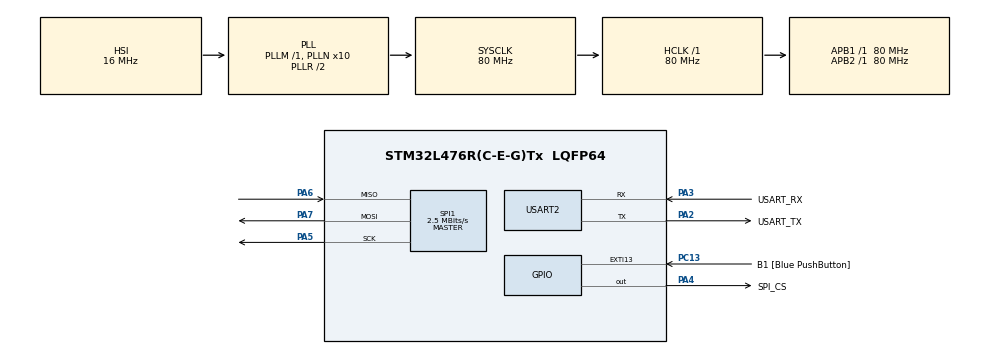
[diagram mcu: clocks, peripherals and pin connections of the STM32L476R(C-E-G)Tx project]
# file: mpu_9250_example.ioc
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Mcu.Family=STM32L4
Mcu.Name=STM32L476R(C-E-G)Tx
Mcu.Package=LQFP64
NVIC.PriorityGroup=NVIC_PRIORITYGROUP_4
NVIC.TIM1_UP_TIM16_IRQn=true\:0\:0\:false\:false\:true\:true\:true\:true
PA13\ (JTMS-SWDIO).GPIO_Label=TMS
PA13\ (JTMS-SWDIO).Mode=Serial_Wire
PA13\ (JTMS-SWDIO).Signal=SYS_JTMS-SWDIO
PA14\ (JTCK-SWCLK).GPIO_Label=TCK
PA14\ (JTCK-SWCLK).Mode=Serial_Wire
PA14\ (JTCK-SWCLK).Signal=SYS_JTCK-SWCLK
PA2.GPIO_Label=USART_TX
PA2.GPIO_Mode=GPIO_MODE_AF_PP
PA2.GPIO_PuPd=GPIO_NOPULL
PA2.GPIO_Speed=GPIO_SPEED_FREQ_VERY_HIGH
PA2.Mode=Asynchronous
PA2.Signal=USART2_TX
PA3.GPIO_Label=USART_RX
PA3.GPIO_Mode=GPIO_MODE_AF_PP
PA3.GPIO_PuPd=GPIO_NOPULL
PA3.GPIO_Speed=GPIO_SPEED_FREQ_VERY_HIGH
PA3.Mode=Asynchronous
PA3.Signal=USART2_RX
PA4.GPIO_Label=SPI_CS
PA4.Signal=GPIO_Output
PA5.Mode=Full_Duplex_Master
PA5.Signal=SPI1_SCK
PA6.Mode=Full_Duplex_Master
PA6.Signal=SPI1_MISO
PA7.Mode=Full_Duplex_Master
PA7.Signal=SPI1_MOSI
PB3\ (JTDO-TRACESWO).GPIO_Label=SWO
PB3\ (JTDO-TRACESWO).Signal=SYS_JTDO-SWO
PC13.GPIO_Label=B1 [Blue PushButton]
PC13.GPIO_ModeDefaultEXTI=GPIO_MODE_IT_FALLING
PC13.GPIO_PuPd=GPIO_NOPULL
PC13.Signal=GPXTI13
PC14-OSC32_IN\ (PC14).Mode=LSE-External-Oscillator
PC14-OSC32_IN\ (PC14).Signal=RCC_OSC32_IN
PC15-OSC32_OUT\ (PC15).Mode=LSE-External-Oscillator
PC15-OSC32_OUT\ (PC15).Signal=RCC_OSC32_OUT
PH0-OSC_IN\ (PH0).Signal=RCC_OSC_IN
PH1-OSC_OUT\ (PH1).Signal=RCC_OSC_OUT
ProjectManager.HeapSize=0x200
ProjectManager.StackSize=0x400
ProjectManager.TargetToolchain=STM32CubeIDE
RCC.ADCFreq_Value=64000000
RCC.AHBFreq_Value=80000000
RCC.APB1Freq_Value=80000000
RCC.APB1TimFreq_Value=80000000
RCC.APB2Freq_Value=80000000
RCC.APB2TimFreq_Value=80000000
RCC.CortexFreq_Value=80000000
RCC.HCLKFreq_Value=80000000
RCC.HSE_VALUE=8000000
RCC.HSI_VALUE=16000000
RCC.MSI_VALUE=4000000
RCC.PLLN=10
RCC.PLLSourceVirtual=RCC_PLLSOURCE_HSI
RCC.PREFETCH_ENABLE=1
RCC.SYSCLKFreq_VALUE=80000000
RCC.SYSCLKSource=RCC_SYSCLKSOURCE_PLLCLK
RCC.USBFreq_Value=64000000
RCC.VCOOutputFreq_Value=160000000
SPI1.BaudRatePrescaler=SPI_BAUDRATEPRESCALER_32
SPI1.CLKPhase=SPI_PHASE_2EDGE
SPI1.CLKPolarity=SPI_POLARITY_HIGH
SPI1.CalculateBaudRate=2.5 MBits/s
SPI1.DataSize=SPI_DATASIZE_8BIT
SPI1.Direction=SPI_DIRECTION_2LINES
SPI1.Mode=SPI_MODE_MASTER
SPI1.VirtualType=VM_MASTER
TIM1.Period=999
TIM1.Prescaler=79
USART2.VirtualMode-Asynchronous=VM_ASYNC
VP_TIM1_VS_ClockSourceINT.Mode=Internal
board=NUCLEO-L476RG

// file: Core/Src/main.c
/* USER CODE BEGIN Header */
/**
  ******************************************************************************
  * @file           : main.c
  * @brief          : Main program body
  ******************************************************************************
  * @attention
  *
  * Copyright (c) 2022 STMicroelectronics.
  * All rights reserved.
  *
  * This software is licensed under terms that can be found in the LICENSE file
  * in the root directory of this software component.
  * If no LICENSE file comes with this software, it is provided AS-IS.
  *
  ******************************************************************************
  */
/* USER CODE END Header */
#include "main.h"

 SPI_HandleTypeDef hspi1;

TIM_HandleTypeDef htim1;

UART_HandleTypeDef huart2;

/* USER CODE BEGIN PV */
volatile uint8_t timer_flag = 0;
/* USER CODE END PV */

void SystemClock_Config(void);
static void MX_GPIO_Init(void);
static void MX_USART2_UART_Init(void);
static void MX_TIM1_Init(void);
static void MX_SPI1_Init(void);
/* USER CODE BEGIN PFP */
void mpu9250_read_reg(uint8_t reg, uint8_t *data, uint8_t len);
void mpu9250_write_reg(uint8_t reg, uint8_t data);
/* USER CODE END PFP */

int main(void)
{

  /* MCU Configuration--------------------------------------------------------*/

  /* Reset of all peripherals, Initializes the Flash interface and the Systick. */
  HAL_Init();

  /* Configure the system clock */
  SystemClock_Config();

  /* Initialize all configured peripherals */
  MX_GPIO_Init();
  MX_USART2_UART_Init();
  MX_TIM1_Init();
  MX_SPI1_Init();
  /* USER CODE BEGIN 2 */
  int16_t accel_data;
  uint8_t imu_data[14];
  mpu9250_write_reg(28, 0x08);
  /* USER CODE END 2 */

  /* Infinite loop */
  /* USER CODE BEGIN WHILE */
  while (1)
  {
	  if(timer_flag)
	  {
		  mpu9250_read_reg(59, imu_data, sizeof(imu_data));
		  accel_data = ((int16_t)imu_data[0]<<8) + imu_data[1];
		  timer_flag = 0;
	  }
    /* USER CODE END WHILE */

  }
}

void SystemClock_Config(void)
{
  RCC_OscInitTypeDef RCC_OscInitStruct = {0};
  RCC_ClkInitTypeDef RCC_ClkInitStruct = {0};

  /** Configure the main internal regulator output voltage
  */
  if (HAL_PWREx_ControlVoltageScaling(PWR_REGULATOR_VOLTAGE_SCALE1) != HAL_OK)
  {
    Error_Handler();
  }

  /** Initializes the RCC Oscillators according to the specified parameters
  * in the RCC_OscInitTypeDef structure.
  */
  RCC_OscInitStruct.OscillatorType = RCC_OSCILLATORTYPE_HSI;
  RCC_OscInitStruct.HSIState = RCC_HSI_ON;
  RCC_OscInitStruct.HSICalibrationValue = RCC_HSICALIBRATION_DEFAULT;
  RCC_OscInitStruct.PLL.PLLState = RCC_PLL_ON;
  RCC_OscInitStruct.PLL.PLLSource = RCC_PLLSOURCE_HSI;
  RCC_OscInitStruct.PLL.PLLM = 1;
  RCC_OscInitStruct.PLL.PLLN = 10;
  RCC_OscInitStruct.PLL.PLLP = RCC_PLLP_DIV7;
  RCC_OscInitStruct.PLL.PLLQ = RCC_PLLQ_DIV2;
  RCC_OscInitStruct.PLL.PLLR = RCC_PLLR_DIV2;
  if (HAL_RCC_OscConfig(&RCC_OscInitStruct) != HAL_OK)
  {
    Error_Handler();
  }

  /** Initializes the CPU, AHB and APB buses clocks
  */
  RCC_ClkInitStruct.ClockType = RCC_CLOCKTYPE_HCLK|RCC_CLOCKTYPE_SYSCLK
                              |RCC_CLOCKTYPE_PCLK1|RCC_CLOCKTYPE_PCLK2;
  RCC_ClkInitStruct.SYSCLKSource = RCC_SYSCLKSOURCE_PLLCLK;
  RCC_ClkInitStruct.AHBCLKDivider = RCC_SYSCLK_DIV1;
  RCC_ClkInitStruct.APB1CLKDivider = RCC_HCLK_DIV1;
  RCC_ClkInitStruct.APB2CLKDivider = RCC_HCLK_DIV1;

  if (HAL_RCC_ClockConfig(&RCC_ClkInitStruct, FLASH_LATENCY_4) != HAL_OK)
  {
    Error_Handler();
  }
}

static void MX_SPI1_Init(void)
{

  /* SPI1 parameter configuration*/
  hspi1.Instance = SPI1;
  hspi1.Init.Mode = SPI_MODE_MASTER;
  hspi1.Init.Direction = SPI_DIRECTION_2LINES;
  hspi1.Init.DataSize = SPI_DATASIZE_8BIT;
  hspi1.Init.CLKPolarity = SPI_POLARITY_HIGH;
  hspi1.Init.CLKPhase = SPI_PHASE_2EDGE;
  hspi1.Init.NSS = SPI_NSS_SOFT;
  hspi1.Init.BaudRatePrescaler = SPI_BAUDRATEPRESCALER_32;
  hspi1.Init.FirstBit = SPI_FIRSTBIT_MSB;
  hspi1.Init.TIMode = SPI_TIMODE_DISABLE;
  hspi1.Init.CRCCalculation = SPI_CRCCALCULATION_DISABLE;
  hspi1.Init.CRCPolynomial = 7;
  hspi1.Init.CRCLength = SPI_CRC_LENGTH_DATASIZE;
  hspi1.Init.NSSPMode = SPI_NSS_PULSE_DISABLE;
  if (HAL_SPI_Init(&hspi1) != HAL_OK)
  {
    Error_Handler();
  }

}

static void MX_TIM1_Init(void)
{

  TIM_ClockConfigTypeDef sClockSourceConfig = {0};
  TIM_MasterConfigTypeDef sMasterConfig = {0};

  htim1.Instance = TIM1;
  htim1.Init.Prescaler = 79;
  htim1.Init.CounterMode = TIM_COUNTERMODE_UP;
  htim1.Init.Period = 999;
  htim1.Init.ClockDivision = TIM_CLOCKDIVISION_DIV1;
  htim1.Init.RepetitionCounter = 0;
  htim1.Init.AutoReloadPreload = TIM_AUTORELOAD_PRELOAD_DISABLE;
  if (HAL_TIM_Base_Init(&htim1) != HAL_OK)
  {
    Error_Handler();
  }
  sClockSourceConfig.ClockSource = TIM_CLOCKSOURCE_INTERNAL;
  if (HAL_TIM_ConfigClockSource(&htim1, &sClockSourceConfig) != HAL_OK)
  {
    Error_Handler();
  }
  sMasterConfig.MasterOutputTrigger = TIM_TRGO_RESET;
  sMasterConfig.MasterOutputTrigger2 = TIM_TRGO2_RESET;
  sMasterConfig.MasterSlaveMode = TIM_MASTERSLAVEMODE_DISABLE;
  if (HAL_TIMEx_MasterConfigSynchronization(&htim1, &sMasterConfig) != HAL_OK)
  {
    Error_Handler();
  }
  /* USER CODE BEGIN TIM1_Init 2 */
  HAL_TIM_Base_Start_IT(&htim1);
  HAL_TIM_Base_Start(&htim1);
  /* USER CODE END TIM1_Init 2 */

}

static void MX_USART2_UART_Init(void)
{

  huart2.Instance = USART2;
  huart2.Init.BaudRate = 115200;
  huart2.Init.WordLength = UART_WORDLENGTH_8B;
  huart2.Init.StopBits = UART_STOPBITS_1;
  huart2.Init.Parity = UART_PARITY_NONE;
  huart2.Init.Mode = UART_MODE_TX_RX;
  huart2.Init.HwFlowCtl = UART_HWCONTROL_NONE;
  huart2.Init.OverSampling = UART_OVERSAMPLING_16;
  huart2.Init.OneBitSampling = UART_ONE_BIT_SAMPLE_DISABLE;
  huart2.AdvancedInit.AdvFeatureInit = UART_ADVFEATURE_NO_INIT;
  if (HAL_UART_Init(&huart2) != HAL_OK)
  {
    Error_Handler();
  }

}

static void MX_GPIO_Init(void)
{
  GPIO_InitTypeDef GPIO_InitStruct = {0};

  /* GPIO Ports Clock Enable */
  __HAL_RCC_GPIOC_CLK_ENABLE();
  __HAL_RCC_GPIOH_CLK_ENABLE();
  __HAL_RCC_GPIOA_CLK_ENABLE();
  __HAL_RCC_GPIOB_CLK_ENABLE();

  /*Configure GPIO pin Output Level */
  HAL_GPIO_WritePin(SPI_CS_GPIO_Port, SPI_CS_Pin, GPIO_PIN_RESET);

  /*Configure GPIO pin : B1_Pin */
  GPIO_InitStruct.Pin = B1_Pin;
  GPIO_InitStruct.Mode = GPIO_MODE_IT_FALLING;
  GPIO_InitStruct.Pull = GPIO_NOPULL;
  HAL_GPIO_Init(B1_GPIO_Port, &GPIO_InitStruct);

  /*Configure GPIO pin : SPI_CS_Pin */
  GPIO_InitStruct.Pin = SPI_CS_Pin;
  GPIO_InitStruct.Mode = GPIO_MODE_OUTPUT_PP;
  GPIO_InitStruct.Pull = GPIO_NOPULL;
  GPIO_InitStruct.Speed = GPIO_SPEED_FREQ_LOW;
  HAL_GPIO_Init(SPI_CS_GPIO_Port, &GPIO_InitStruct);

}

/* USER CODE BEGIN 4 */
void mpu9250_write_reg(uint8_t reg, uint8_t data)
{
	HAL_GPIO_WritePin(SPI_CS_GPIO_Port, SPI_CS_Pin, GPIO_PIN_RESET);
	HAL_SPI_Transmit(&hspi1, &reg, 1, 100);
	HAL_SPI_Transmit(&hspi1, &data, 1, 100);
	HAL_GPIO_WritePin(SPI_CS_GPIO_Port, SPI_CS_Pin, GPIO_PIN_SET);
}
void mpu9250_read_reg(uint8_t reg, uint8_t *data, uint8_t len)
{
	uint8_t temp_data = 0x80|reg;
	HAL_GPIO_WritePin(SPI_CS_GPIO_Port, SPI_CS_Pin, GPIO_PIN_RESET);
	HAL_SPI_Transmit(&hspi1, &temp_data , 1, 100);
	HAL_SPI_Receive(&hspi1, data, len, 100);
	HAL_GPIO_WritePin(SPI_CS_GPIO_Port, SPI_CS_Pin, GPIO_PIN_SET);
}

void HAL_TIM_PeriodElapsedCallback(TIM_HandleTypeDef *htim)
{
	if (htim == &htim1)
	{
		timer_flag = 1;
	}
}
int _write(int file, char *ptr, int len)
{
	int DataIdx;

	for (DataIdx = 0; DataIdx < len; DataIdx++)
	{
		ITM_SendChar(*ptr++);
	}
	return len;
}

/* USER CODE END 4 */

void Error_Handler(void)
{
  __disable_irq();
  while (1)
  {
  }
}
